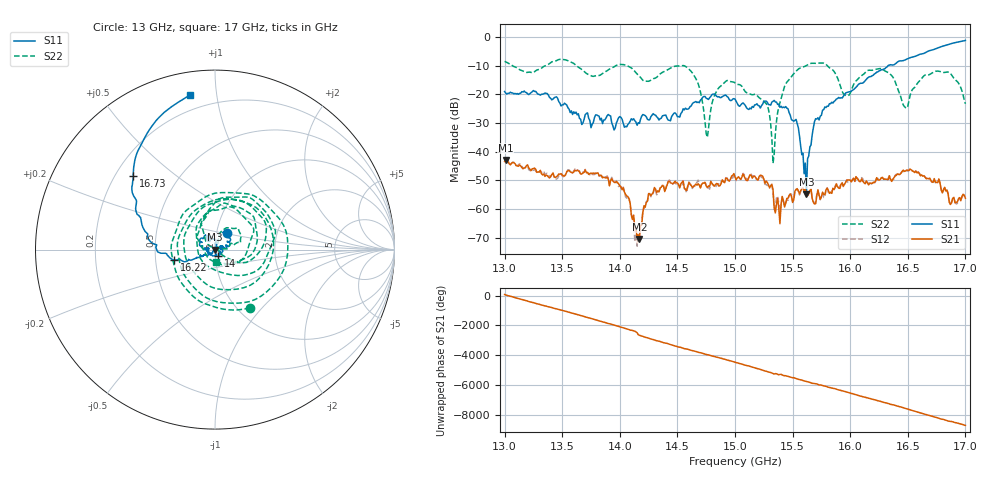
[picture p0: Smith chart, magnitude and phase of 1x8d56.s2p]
!Keysight Technologies,P9374A,MY57211807,A.19.30.04
!Date: Friday, May 08, 2026 15:22:03
!Correction: S11(C  2-Port  )
!S21(C  2-Port  )
!S12(C  2-Port  )
!S22(C  2-Port  )
!S2P File: Measurements: S11, S21, S12, S22:
# Hz S  dB  R 50
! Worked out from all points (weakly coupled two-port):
!   401 points, 13 GHz to 17 GHz, reference 50 ohm
!   highest |S21| = -42.89 dB at 13.01 GHz (marker M1); lowest = -70.4 dB at 14.17 GHz (marker M2)
!   lowest |S11| = -54.8 dB at 15.62 GHz (marker M3), VSWR 1.00, Z = 49.8 - j0.0613 ohm
!   |S11| at or under -10 dB: start of sweep to 16.33 GHz
!   |S22| runs from -44.0 to -7.8 dB; largest |S21 - S12| = 0.00061
!   S11 on the Smith chart (normalised r, x): 13 GHz: 1.12, +0.21; 14 GHz: 1.04, -0.08; 16.22 GHz: 0.63, -0.08; 16.73 GHz: 0.27, +0.36; 17 GHz: 0.12, +0.85
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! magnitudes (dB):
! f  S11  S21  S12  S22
! 13 GHz  -19.0  -43.4  -43.4  -8.5
! 13.01 GHz  -19.5  -42.9  -43.0  -8.6
! 13.67 GHz  -30.5  -47.7  -47.4  -11.3
! 14 GHz  -27.7  -51.8  -51.9  -9.5
! 14.17 GHz  -30.1  -70.4  -68.6  -13.6
! 14.34 GHz  -28.9  -54.0  -53.9  -13.2
! 14.61 GHz  -24.2  -51.4  -51.1  -11.6
! 14.76 GHz  -21.5  -52.5  -52.5  -34.9
! 14.85 GHz  -20.9  -51.2  -51.1  -18.2
! 15 GHz  -21.6  -48.7  -48.5  -16.0
! 15.26 GHz  -22.3  -51.0  -51.3  -22.8
! 15.33 GHz  -22.4  -53.1  -53.9  -44.0
! 15.44 GHz  -24.2  -58.0  -57.6  -16.4
! 15.54 GHz  -30.1  -52.9  -52.8  -11.5
! 15.62 GHz  -54.8  -54.6  -54.7  -9.9
! 15.67 GHz  -34.1  -56.2  -56.2  -9.1
! 15.97 GHz  -19.3  -49.9  -49.8  -20.4
! 16.22 GHz  -12.6  -50.3  -50.9  -11.3
! 16.34 GHz  -9.8  -48.4  -48.3  -12.7
! 16.48 GHz  -7.9  -46.7  -46.5  -24.6
! 16.73 GHz  -4.3  -49.4  -49.9  -12.1
! 17 GHz  -1.2  -56.2  -56.1  -23.2
